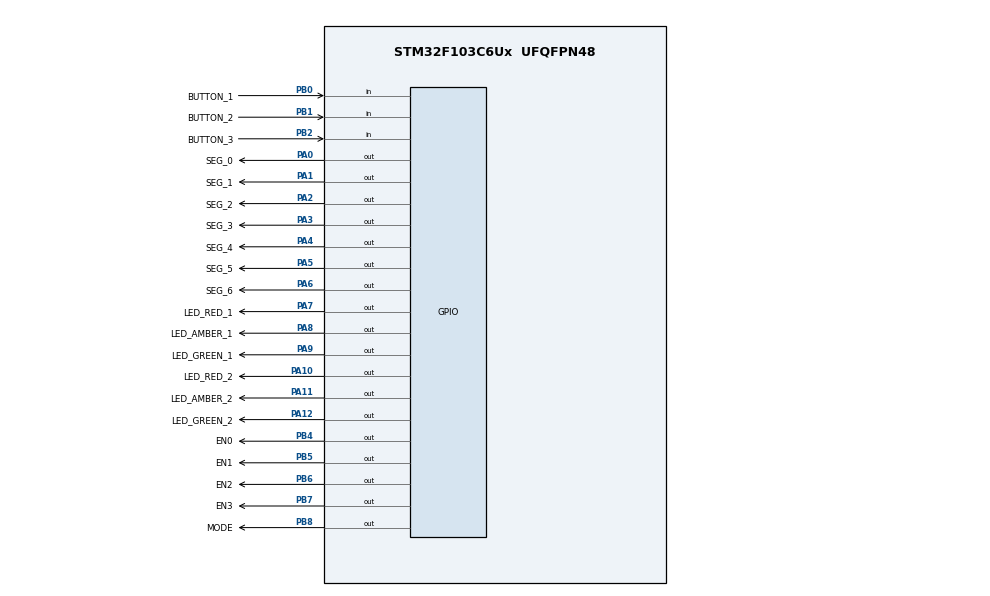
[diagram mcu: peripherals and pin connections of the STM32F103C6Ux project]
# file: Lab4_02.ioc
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Mcu.Family=STM32F1
Mcu.Name=STM32F103C6Ux
Mcu.Package=UFQFPN48
NVIC.PriorityGroup=NVIC_PRIORITYGROUP_4
NVIC.TIM2_IRQn=true\:0\:0\:false\:false\:true\:true\:true
PA0-WKUP.GPIO_Label=SEG_0
PA0-WKUP.Signal=GPIO_Output
PA1.GPIO_Label=SEG_1
PA1.Signal=GPIO_Output
PA10.GPIO_Label=LED_RED_2
PA10.Signal=GPIO_Output
PA11.GPIO_Label=LED_AMBER_2
PA11.Signal=GPIO_Output
PA12.GPIO_Label=LED_GREEN_2
PA12.Signal=GPIO_Output
PA2.GPIO_Label=SEG_2
PA2.Signal=GPIO_Output
PA3.GPIO_Label=SEG_3
PA3.Signal=GPIO_Output
PA4.GPIO_Label=SEG_4
PA4.Signal=GPIO_Output
PA5.GPIO_Label=SEG_5
PA5.Signal=GPIO_Output
PA6.GPIO_Label=SEG_6
PA6.Signal=GPIO_Output
PA7.GPIO_Label=LED_RED_1
PA7.Signal=GPIO_Output
PA8.GPIO_Label=LED_AMBER_1
PA8.Signal=GPIO_Output
PA9.GPIO_Label=LED_GREEN_1
PA9.Signal=GPIO_Output
PB0.GPIO_Label=BUTTON_1
PB0.Signal=GPIO_Input
PB1.GPIO_Label=BUTTON_2
PB1.Signal=GPIO_Input
PB2.GPIO_Label=BUTTON_3
PB2.Signal=GPIO_Input
PB4.GPIO_Label=EN0
PB4.Signal=GPIO_Output
PB5.GPIO_Label=EN1
PB5.Signal=GPIO_Output
PB6.GPIO_Label=EN2
PB6.Signal=GPIO_Output
PB7.GPIO_Label=EN3
PB7.Signal=GPIO_Output
PB8.GPIO_Label=MODE
PB8.Signal=GPIO_Output
ProjectManager.HeapSize=0x200
ProjectManager.StackSize=0x400
ProjectManager.TargetToolchain=STM32CubeIDE
RCC.APB1Freq_Value=8000000
RCC.APB2Freq_Value=8000000
TIM2.Period=9
TIM2.Prescaler=7999
VP_SYS_VS_ND.Mode=No_Debug
VP_TIM2_VS_ClockSourceINT.Mode=Internal
board=custom

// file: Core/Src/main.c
/* USER CODE BEGIN Header */
/**
  ******************************************************************************
  * @file           : main.c
  * @brief          : Main program body
  ******************************************************************************
  * @attention
  *
  * <h2><center>&copy; Copyright (c) 2024 STMicroelectronics.
  * All rights reserved.</center></h2>
  *
  * This software component is licensed by ST under BSD 3-Clause license,
  * the "License"; You may not use this file except in compliance with the
  * License. You may obtain a copy of the License at:
  *                        opensource.org/licenses/BSD-3-Clause
  *
  ******************************************************************************
  */
/* USER CODE END Header */
#include "main.h"

/* USER CODE BEGIN Includes */
#include "schedular.h"
#include "global.h"
#include "input_reading.h"
#include "input_processing.h"
#include "led_display.h"
/* USER CODE END Includes */

TIM_HandleTypeDef htim2;

void SystemClock_Config(void);
static void MX_GPIO_Init(void);
static void MX_TIM2_Init(void);

int main(void)
{

  /* MCU Configuration--------------------------------------------------------*/

  /* Reset of all peripherals, Initializes the Flash interface and the Systick. */
  HAL_Init();

  /* Configure the system clock */
  SystemClock_Config();

  /* Initialize all configured peripherals */
  MX_GPIO_Init();
  MX_TIM2_Init();
  /* USER CODE BEGIN 2 */
  HAL_TIM_Base_Start_IT (& htim2 ) ;
  /* USER CODE END 2 */

  /* Infinite loop */
  /* USER CODE BEGIN WHILE */

  //SCH_INIT();

  SCH_ADD_TASK(initButton, 10, 0);
  SCH_ADD_TASK(initLedTime, 20, 0);
  SCH_ADD_TASK(normalMode, 40, 1000);
  SCH_ADD_TASK(ledDispMode, 30, 250);
  SCH_ADD_TASK(ledScanning, 50, 50);
  SCH_ADD_TASK(fsm_for_input_processing, 60, 100);
  while (1)
  {
	  SCH_Dispatch_Task();
    /* USER CODE END WHILE */

  }
}

void SystemClock_Config(void)
{
  RCC_OscInitTypeDef RCC_OscInitStruct = {0};
  RCC_ClkInitTypeDef RCC_ClkInitStruct = {0};

  /** Initializes the RCC Oscillators according to the specified parameters
  * in the RCC_OscInitTypeDef structure.
  */
  RCC_OscInitStruct.OscillatorType = RCC_OSCILLATORTYPE_HSI;
  RCC_OscInitStruct.HSIState = RCC_HSI_ON;
  RCC_OscInitStruct.HSICalibrationValue = RCC_HSICALIBRATION_DEFAULT;
  RCC_OscInitStruct.PLL.PLLState = RCC_PLL_NONE;
  if (HAL_RCC_OscConfig(&RCC_OscInitStruct) != HAL_OK)
  {
    Error_Handler();
  }
  /** Initializes the CPU, AHB and APB buses clocks
  */
  RCC_ClkInitStruct.ClockType = RCC_CLOCKTYPE_HCLK|RCC_CLOCKTYPE_SYSCLK
                              |RCC_CLOCKTYPE_PCLK1|RCC_CLOCKTYPE_PCLK2;
  RCC_ClkInitStruct.SYSCLKSource = RCC_SYSCLKSOURCE_HSI;
  RCC_ClkInitStruct.AHBCLKDivider = RCC_SYSCLK_DIV1;
  RCC_ClkInitStruct.APB1CLKDivider = RCC_HCLK_DIV1;
  RCC_ClkInitStruct.APB2CLKDivider = RCC_HCLK_DIV1;

  if (HAL_RCC_ClockConfig(&RCC_ClkInitStruct, FLASH_LATENCY_0) != HAL_OK)
  {
    Error_Handler();
  }
}

static void MX_TIM2_Init(void)
{

  TIM_ClockConfigTypeDef sClockSourceConfig = {0};
  TIM_MasterConfigTypeDef sMasterConfig = {0};

  htim2.Instance = TIM2;
  htim2.Init.Prescaler = 7999;
  htim2.Init.CounterMode = TIM_COUNTERMODE_UP;
  htim2.Init.Period = 9;
  htim2.Init.ClockDivision = TIM_CLOCKDIVISION_DIV1;
  htim2.Init.AutoReloadPreload = TIM_AUTORELOAD_PRELOAD_DISABLE;
  if (HAL_TIM_Base_Init(&htim2) != HAL_OK)
  {
    Error_Handler();
  }
  sClockSourceConfig.ClockSource = TIM_CLOCKSOURCE_INTERNAL;
  if (HAL_TIM_ConfigClockSource(&htim2, &sClockSourceConfig) != HAL_OK)
  {
    Error_Handler();
  }
  sMasterConfig.MasterOutputTrigger = TIM_TRGO_RESET;
  sMasterConfig.MasterSlaveMode = TIM_MASTERSLAVEMODE_DISABLE;
  if (HAL_TIMEx_MasterConfigSynchronization(&htim2, &sMasterConfig) != HAL_OK)
  {
    Error_Handler();
  }

}

static void MX_GPIO_Init(void)
{
  GPIO_InitTypeDef GPIO_InitStruct = {0};

  /* GPIO Ports Clock Enable */
  __HAL_RCC_GPIOA_CLK_ENABLE();
  __HAL_RCC_GPIOB_CLK_ENABLE();

  /*Configure GPIO pin Output Level */
  HAL_GPIO_WritePin(GPIOA, SEG_0_Pin|SEG_1_Pin|SEG_2_Pin|SEG_3_Pin
                          |SEG_4_Pin|SEG_5_Pin|SEG_6_Pin|LED_RED_1_Pin
                          |LED_AMBER_1_Pin|LED_GREEN_1_Pin|LED_RED_2_Pin|LED_AMBER_2_Pin
                          |LED_GREEN_2_Pin, GPIO_PIN_RESET);

  /*Configure GPIO pin Output Level */
  HAL_GPIO_WritePin(GPIOB, EN0_Pin|EN1_Pin|EN2_Pin|EN3_Pin
                          |MODE_Pin, GPIO_PIN_RESET);

  /*Configure GPIO pins : SEG_0_Pin SEG_1_Pin SEG_2_Pin SEG_3_Pin
                           SEG_4_Pin SEG_5_Pin SEG_6_Pin LED_RED_1_Pin
                           LED_AMBER_1_Pin LED_GREEN_1_Pin LED_RED_2_Pin LED_AMBER_2_Pin
                           LED_GREEN_2_Pin */
  GPIO_InitStruct.Pin = SEG_0_Pin|SEG_1_Pin|SEG_2_Pin|SEG_3_Pin
                          |SEG_4_Pin|SEG_5_Pin|SEG_6_Pin|LED_RED_1_Pin
                          |LED_AMBER_1_Pin|LED_GREEN_1_Pin|LED_RED_2_Pin|LED_AMBER_2_Pin
                          |LED_GREEN_2_Pin;
  GPIO_InitStruct.Mode = GPIO_MODE_OUTPUT_PP;
  GPIO_InitStruct.Pull = GPIO_NOPULL;
  GPIO_InitStruct.Speed = GPIO_SPEED_FREQ_LOW;
  HAL_GPIO_Init(GPIOA, &GPIO_InitStruct);

  /*Configure GPIO pins : BUTTON_1_Pin BUTTON_2_Pin BUTTON_3_Pin */
  GPIO_InitStruct.Pin = BUTTON_1_Pin|BUTTON_2_Pin|BUTTON_3_Pin;
  GPIO_InitStruct.Mode = GPIO_MODE_INPUT;
  GPIO_InitStruct.Pull = GPIO_NOPULL;
  HAL_GPIO_Init(GPIOB, &GPIO_InitStruct);

  /*Configure GPIO pins : EN0_Pin EN1_Pin EN2_Pin EN3_Pin
                           MODE_Pin */
  GPIO_InitStruct.Pin = EN0_Pin|EN1_Pin|EN2_Pin|EN3_Pin
                          |MODE_Pin;
  GPIO_InitStruct.Mode = GPIO_MODE_OUTPUT_PP;
  GPIO_InitStruct.Pull = GPIO_NOPULL;
  GPIO_InitStruct.Speed = GPIO_SPEED_FREQ_LOW;
  HAL_GPIO_Init(GPIOB, &GPIO_InitStruct);

}

/* USER CODE BEGIN 4 */

void HAL_TIM_PeriodElapsedCallback ( TIM_HandleTypeDef * htim ){
	SCH_Update();
	button_reading();
}
/* USER CODE END 4 */

void Error_Handler(void)
{
  __disable_irq();
  while (1)
  {
  }
}

/************************ (C) COPYRIGHT STMicroelectronics *****END OF FILE****/
